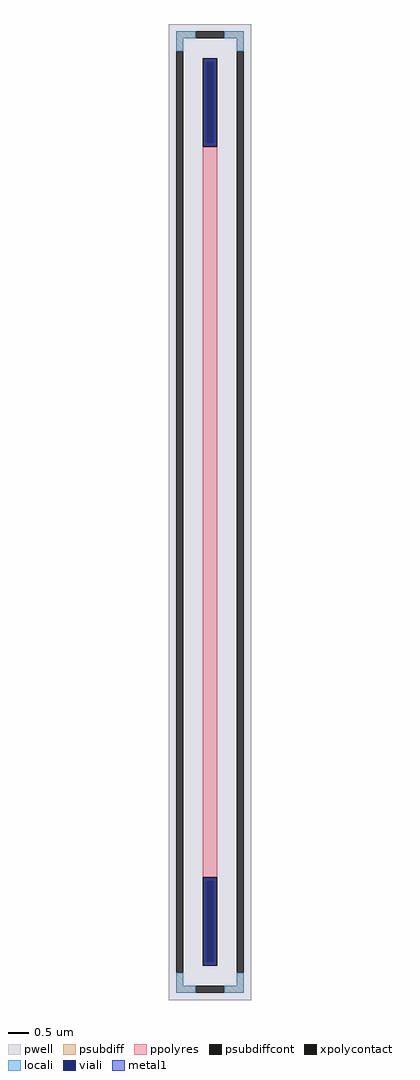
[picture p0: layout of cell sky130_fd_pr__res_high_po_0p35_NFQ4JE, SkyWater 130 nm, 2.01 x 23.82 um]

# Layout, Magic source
magic
tech sky130A
magscale 1 2
<< pwell >>
rect -201 -2382 201 2382
<< psubdiff >>
rect -165 2312 -69 2346
rect 69 2312 165 2346
rect -165 2250 -131 2312
rect 131 2250 165 2312
rect -165 -2312 -131 -2250
rect 131 -2312 165 -2250
rect -165 -2346 -69 -2312
rect 69 -2346 165 -2312
<< psubdiffcont >>
rect -69 2312 69 2346
rect -165 -2250 -131 2250
rect 131 -2250 165 2250
rect -69 -2346 69 -2312
<< xpolycontact >>
rect -35 1784 35 2216
rect -35 -2216 35 -1784
<< ppolyres >>
rect -35 -1784 35 1784
<< locali >>
rect -165 2312 -69 2346
rect 69 2312 165 2346
rect -165 2250 -131 2312
rect 131 2250 165 2312
rect -165 -2312 -131 -2250
rect 131 -2312 165 -2250
rect -165 -2346 -69 -2312
rect 69 -2346 165 -2312
<< viali >>
rect -19 1801 19 2198
rect -19 -2198 19 -1801
<< metal1 >>
rect -25 2198 25 2210
rect -25 1801 -19 2198
rect 19 1801 25 2198
rect -25 1789 25 1801
rect -25 -1801 25 -1789
rect -25 -2198 -19 -1801
rect 19 -2198 25 -1801
rect -25 -2210 25 -2198
<< properties >>
string FIXED_BBOX -148 -2329 148 2329
string gencell sky130_fd_pr__res_high_po_0p35
string library sky130
string parameters w 0.350 l 18.0 m 1 nx 1 wmin 0.350 lmin 0.50 rho 319.8 val 17.56k dummy 0 dw 0.0 term 194.82 sterm 0.0 caplen 0 guard 1 glc 1 grc 1 gtc 1 gbc 1 compatible {sky130_fd_pr__res_high_po_0p35  sky130_fd_pr__res_high_po_0p69 sky130_fd_pr__res_high_po_1p41  sky130_fd_pr__res_high_po_2p85 sky130_fd_pr__res_high_po_5p73} snake 0 full_metal 1 wmax 0.350 vias 1 n_guard 0 hv_guard 0 viagb 0 viagt 0 viagl 0 viagr 0
<< end >>
